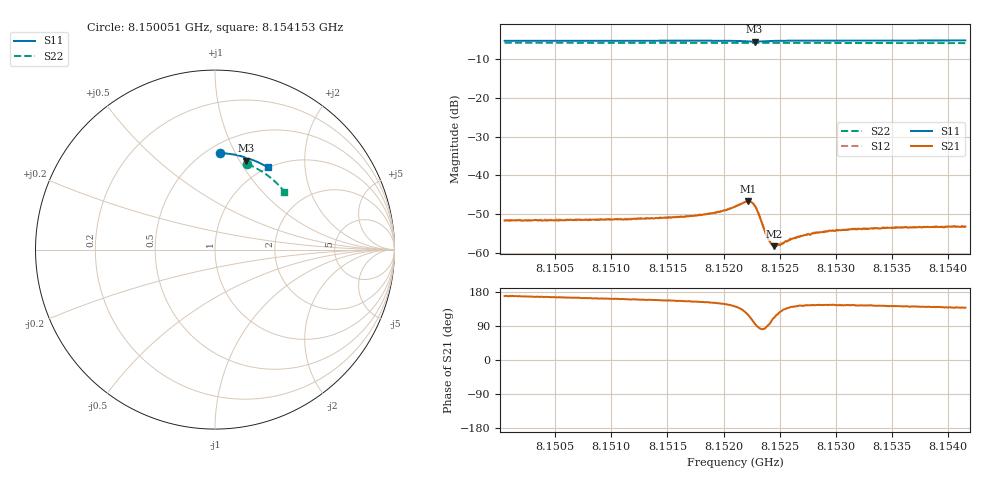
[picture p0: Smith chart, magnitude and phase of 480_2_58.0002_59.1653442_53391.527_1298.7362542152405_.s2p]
#  HZ  S  RI  R  50.00
! Rohde & Schwarz Vector Network Analyzer
! Rohde-Schwarz,ZNB20-2Port,1311601062101988,3.16
! Created: UTC 3/21/2024, 1:11:50 AM
! freq[Hz]  re:S11  im:S11  re:S21  im:S21  re:S12  im:S12  re:S22  im:S22
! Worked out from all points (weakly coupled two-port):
!   401 points, 8.150051 GHz to 8.154153 GHz, reference 50 ohm
!   highest |S21| = -46.66 dB at 8.152215 GHz (marker M1); lowest = -58.2 dB at 8.152451 GHz (marker M2)
!   lowest |S11| = -5.6 dB at 8.152276 GHz (marker M3), VSWR 3.21, Z = 38.9 + j53.3 ohm
!   |S11| at or under -10 dB: nowhere
!   |S22| runs from -6.0 to -5.9 dB; largest |S21 - S12| = 0.00012
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8.1500513e9  0.027 0.5375  -0.00258 0.000521  -0.00263 0.00053  0.1796 0.4771
8.1507383e9  0.0748 0.5341  -0.00256 0.000779  -0.00261 0.000797  0.2199 0.4588
8.1514252e9  0.1225 0.5263  -0.00262 0.00105  -0.00264 0.00112  0.2581 0.4372
8.1516508e9  0.1382 0.5225  -0.00268 0.00121  -0.00271 0.00126  0.2702 0.4294
8.1518353e9  0.1514 0.5189  -0.0028 0.00146  -0.00283 0.0015  0.2799 0.4227
8.1519686e9  0.1614 0.5154  -0.00294 0.00175  -0.00295 0.0018  0.2869 0.4177
8.1521019e9  0.1717 0.5099  -0.00309 0.00249  -0.00309 0.00255  0.2937 0.4128
8.1522147e9  0.1772 0.4998  -0.00235 0.00401  -0.0023 0.00406  0.2993 0.4081
8.1522454e9  0.1754 0.4969  -0.00149 0.00429  -0.00146 0.00437  0.3006 0.407
8.1522762e9  0.1725 0.4963  -0.000493 0.00407  -0.000433 0.00413  0.3018 0.4058
8.152307e9  0.1705 0.4986  0.000189 0.00334  0.000262 0.00338  0.3035 0.4047
8.152389e9  0.175 0.5052  1.81e-05 0.00163  6.58e-05 0.00162  0.3075 0.4018
8.1524198e9  0.178 0.5062  -0.000234 0.00133  -0.000219 0.00136  0.3091 0.4007
8.1524505e9  0.181 0.5065  -0.000454 0.00115  -0.000462 0.00116  0.3108 0.3994
8.152471e9  0.183 0.5065  -0.000603 0.00108  -0.000565 0.00113  0.3118 0.3985
8.152512e9  0.1867 0.5063  -0.000819 0.00102  -0.000822 0.00104  0.3137 0.3969
8.1526453e9  0.1973 0.5039  -0.00123 0.000978  -0.00127 0.00101  0.3203 0.3916
8.1527889e9  0.2077 0.5004  -0.00147 0.00105  -0.00144 0.00102  0.3271 0.3855
8.1529529e9  0.2189 0.4963  -0.0016 0.0011  -0.00156 0.00111  0.3348 0.3785
8.1531785e9  0.2337 0.49  -0.00163 0.0012  -0.00168 0.00119  0.3452 0.3686
8.1534758e9  0.2525 0.4811  -0.00167 0.00132  -0.00167 0.00131  0.3584 0.3553
8.1541525e9  0.2937 0.4585  -0.00164 0.00147  -0.00163 0.00151  0.3861 0.3231
